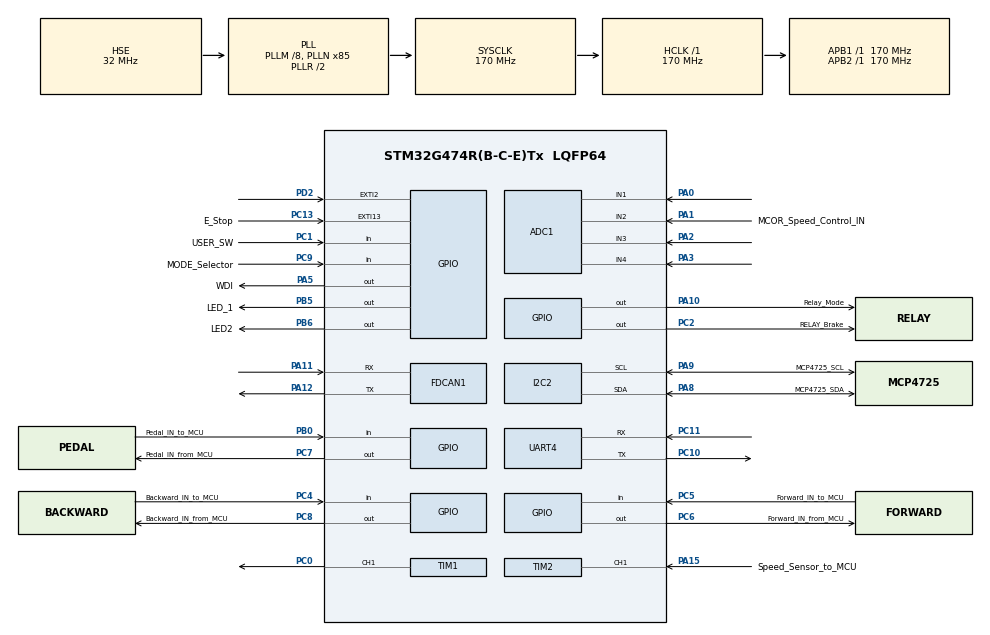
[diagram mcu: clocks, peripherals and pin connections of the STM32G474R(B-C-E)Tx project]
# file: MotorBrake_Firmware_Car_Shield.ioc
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ADC1.Channel-0\#ChannelRegularConversion=ADC_CHANNEL_1
ADC1.Channel-1\#ChannelRegularConversion=ADC_CHANNEL_2
ADC1.Channel-2\#ChannelRegularConversion=ADC_CHANNEL_3
ADC1.Channel-3\#ChannelRegularConversion=ADC_CHANNEL_4
ADC1.ContinuousConvMode=ENABLE
ADC1.DMAContinuousRequests=ENABLE
ADC1.NbrOfConversion=4
ADC1.NbrOfConversionFlag=1
ADC1.OffsetNumber-0\#ChannelRegularConversion=ADC_OFFSET_NONE
ADC1.OffsetNumber-1\#ChannelRegularConversion=ADC_OFFSET_NONE
ADC1.OffsetNumber-2\#ChannelRegularConversion=ADC_OFFSET_NONE
ADC1.OffsetNumber-3\#ChannelRegularConversion=ADC_OFFSET_NONE
ADC1.Rank-0\#ChannelRegularConversion=1
ADC1.Rank-1\#ChannelRegularConversion=2
ADC1.Rank-2\#ChannelRegularConversion=3
ADC1.Rank-3\#ChannelRegularConversion=4
ADC1.SamplingTime-0\#ChannelRegularConversion=ADC_SAMPLETIME_640CYCLES_5
ADC1.SamplingTime-1\#ChannelRegularConversion=ADC_SAMPLETIME_640CYCLES_5
ADC1.SamplingTime-2\#ChannelRegularConversion=ADC_SAMPLETIME_640CYCLES_5
ADC1.SamplingTime-3\#ChannelRegularConversion=ADC_SAMPLETIME_640CYCLES_5
ADC1.master=1
Dma.ADC1.0.Direction=DMA_PERIPH_TO_MEMORY
Dma.ADC1.0.EventEnable=DISABLE
Dma.ADC1.0.Instance=DMA1_Channel1
Dma.ADC1.0.MemDataAlignment=DMA_MDATAALIGN_HALFWORD
Dma.ADC1.0.MemInc=DMA_MINC_ENABLE
Dma.ADC1.0.Mode=DMA_CIRCULAR
Dma.ADC1.0.PeriphDataAlignment=DMA_PDATAALIGN_HALFWORD
Dma.ADC1.0.PeriphInc=DMA_PINC_DISABLE
Dma.ADC1.0.Polarity=HAL_DMAMUX_REQ_GEN_RISING
Dma.ADC1.0.Priority=DMA_PRIORITY_LOW
Dma.ADC1.0.RequestNumber=1
Dma.ADC1.0.SignalID=NONE
Dma.ADC1.0.SyncEnable=DISABLE
Dma.ADC1.0.SyncPolarity=HAL_DMAMUX_SYNC_NO_EVENT
Dma.ADC1.0.SyncRequestNumber=1
Dma.ADC1.0.SyncSignalID=NONE
Dma.Request0=ADC1
FDCAN1.CalculateBaudRateNominal=249999
FDCAN1.CalculateTimeBitNominal=4000
FDCAN1.CalculateTimeQuantumNominal=235.29411764705884
FDCAN1.NominalPrescaler=40
FDCAN1.NominalSyncJumpWidth=3
FDCAN1.NominalTimeSeg1=13
FDCAN1.NominalTimeSeg2=3
I2C2.Timing=0x40B285C2
Mcu.Family=STM32G4
Mcu.Name=STM32G474R(B-C-E)Tx
Mcu.Package=LQFP64
NVIC.DMA1_Channel1_IRQn=true\:0\:0\:false\:false\:true\:false\:true\:true
NVIC.EXTI2_IRQn=true\:0\:0\:false\:false\:true\:true\:true\:true
NVIC.PriorityGroup=NVIC_PRIORITYGROUP_4
NVIC.TIM6_DAC_IRQn=true\:0\:0\:false\:false\:true\:true\:true\:true
PA0.Mode=IN1-Single-Ended
PA0.Signal=ADC1_IN1
PA1.GPIO_Label=MCOR_Speed_Control_IN
PA1.Mode=IN2-Single-Ended
PA1.Signal=ADC1_IN2
PA10.GPIO_Label=Relay_Mode
PA10.Signal=GPIO_Output
PA11.Mode=FDCAN_Activate
PA11.Signal=FDCAN1_RX
PA12.Mode=FDCAN_Activate
PA12.Signal=FDCAN1_TX
PA13.Mode=Serial_Wire
PA13.Signal=SYS_JTMS-SWDIO
PA14.Mode=Serial_Wire
PA14.Signal=SYS_JTCK-SWCLK
PA15.GPIO_Label=Speed_Sensor_to_MCU
PA15.Signal=S_TIM2_CH1
PA2.Mode=IN3-Single-Ended
PA2.Signal=ADC1_IN3
PA3.Mode=IN4-Single-Ended
PA3.Signal=ADC1_IN4
PA5.GPIO_Label=WDI
PA5.Signal=GPIO_Output
PA8.GPIO_Label=MCP4725_SDA
PA8.Mode=I2C
PA8.Signal=I2C2_SDA
PA9.GPIO_Label=MCP4725_SCL
PA9.Mode=I2C
PA9.Signal=I2C2_SCL
PB0.GPIO_Label=Pedal_IN_to_MCU
PB0.Signal=GPIO_Input
PB5.GPIO_Label=LED_1
PB5.Signal=GPIO_Output
PB6.GPIO_Label=LED2
PB6.Signal=GPIO_Output
PC0.Signal=S_TIM1_CH1
PC1.GPIO_Label=USER_SW
PC1.GPIO_PuPd=GPIO_PULLDOWN
PC1.Signal=GPIO_Input
PC10.Mode=Asynchronous
PC10.Signal=UART4_TX
PC11.Mode=Asynchronous
PC11.Signal=UART4_RX
PC13.GPIO_Label=E_Stop
PC13.GPIO_PuPd=GPIO_PULLUP
PC13.Signal=GPXTI13
PC2.GPIO_Label=RELAY_Brake
PC2.Signal=GPIO_Output
PC4.GPIO_Label=Backward_IN_to_MCU
PC4.Signal=GPIO_Input
PC5.GPIO_Label=Forward_IN_to_MCU
PC5.Signal=GPIO_Input
PC6.GPIO_Label=Forward_IN_from_MCU
PC6.Signal=GPIO_Output
PC7.GPIO_Label=Pedal_IN_from_MCU
PC7.Signal=GPIO_Output
PC8.GPIO_Label=Backward_IN_from_MCU
PC8.Signal=GPIO_Output
PC9.GPIO_Label=MODE_Selector
PC9.Signal=GPIO_Input
PD2.GPIO_ModeDefaultEXTI=GPIO_MODE_IT_FALLING
PD2.Signal=GPXTI2
PF0-OSC_IN.Mode=HSE-External-Oscillator
PF0-OSC_IN.Signal=RCC_OSC_IN
PF1-OSC_OUT.Mode=HSE-External-Oscillator
PF1-OSC_OUT.Signal=RCC_OSC_OUT
ProjectManager.HeapSize=0x200
ProjectManager.StackSize=0x400
ProjectManager.TargetToolchain=STM32CubeIDE
RCC.ADC12Freq_Value=170000000
RCC.ADC345Freq_Value=170000000
RCC.AHBFreq_Value=170000000
RCC.APB1Freq_Value=170000000
RCC.APB1TimFreq_Value=170000000
RCC.APB2Freq_Value=170000000
RCC.APB2TimFreq_Value=170000000
RCC.CortexFreq_Value=170000000
RCC.EXTERNAL_CLOCK_VALUE=12288000
RCC.HCLKFreq_Value=170000000
RCC.HSE_VALUE=32000000
RCC.HSI48_VALUE=48000000
RCC.HSI_VALUE=16000000
RCC.LSE_VALUE=32768
RCC.PLLM=RCC_PLLM_DIV8
RCC.PLLN=85
RCC.PLLSourceVirtual=RCC_PLLSOURCE_HSE
RCC.SYSCLKFreq_VALUE=170000000
RCC.SYSCLKSource=RCC_SYSCLKSOURCE_PLLCLK
RCC.USBFreq_Value=170000000
RCC.VCOOutputFreq_Value=340000000
SH.S_TIM1_CH1.0=TIM1_CH1,PWM Generation1 CH1
SH.S_TIM2_CH1.0=TIM2_CH1,Input_Capture1_from_TI1
TIM1.Channel-PWM\ Generation1\ CH1=TIM_CHANNEL_1
TIM1.PeriodNoDither=20000-1
TIM1.Prescaler=170-1
TIM2.Channel-Input_Capture1_from_TI1=TIM_CHANNEL_1
TIM6.PeriodNoDither=10000-1
TIM6.Prescaler=170-1
VP_SYS_VS_DBSignals.Mode=DisableDeadBatterySignals
VP_TIM1_VS_ClockSourceINT.Mode=Internal
VP_TIM6_VS_ClockSourceINT.Mode=Enable_Timer
board=custom

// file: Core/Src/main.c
/* USER CODE BEGIN Header */
/**
 ******************************************************************************
 * @file           : main.c
 * @brief          : Main program body
 ******************************************************************************
 * @attention
 *
 * Copyright (c) 2026 STMicroelectronics.
 * All rights reserved.
 *
 * This software is licensed under terms that can be found in the LICENSE file
 * in the root directory of this software component.
 * If no LICENSE file comes with this software, it is provided AS-IS.
 *
 ******************************************************************************
 */
/* USER CODE END Header */
#include "main.h"
#include "adc.h"
#include "dma.h"
#include "fdcan.h"
#include "i2c.h"
#include "tim.h"
#include "usart.h"
#include "gpio.h"

/* USER CODE BEGIN Includes */
#include <string.h>   // memcpy() for packing the float current into the CAN frame
#include "flash_store.h"   // persist start/stop servo angles in flash (split-out lib)
#include "curtis_io.h"     // read/drive Curtis 1510 direction/pedal/MCOR/speed-sensor
#include "tim.h"           // htim2 + MX_TIM2_Init() for the speed-sensor input capture
#include "i2c.h"           // hi2c2 + MX_I2C2_Init() for the MCP4725 MCOR-out DAC
/* USER CODE END Includes */

/* USER CODE BEGIN PD */
/* ---- CAN protocol (raw classic-CAN frames bridged to ROS 2 on the PC) ----
 * /brake_command (std_msgs/Bool)  : PC -> STM32, ID 0x130, data[0] = 1 ON / 0 OFF
 * /brake_status  (BrakeStatus.msg): STM32 -> PC, ID 0x131, 8-byte heartbeat:
 *     [0..3] float32 current_ma (little-endian)
 *     [4]    uint8  relay_active   (1 = Relay G2R-24 ON, 0 = OFF)
 *     [5]    uint8  status bits: bit0 = watchdog_status (0 = Normal, 1 =
 *            Triggered/fault), bit1 = PC13 E_Stop live status (1 = active)
 *     [6..7] uint16 heartbeat sequence counter (little-endian)
 * /servo_command : PC -> STM32, ID 0x132, 8-byte. Two independent servo angles,
 *            each a little-endian float32 clamped to 0–180°. Stored in flash and
 *            recalled on boot:
 *     [0..3] float32 start_deg : servo position when the brake is OFF/released
 *            (relay open, motor free to start).
 *     [4..7] float32 stop_deg  : servo position when the brake is ON/engaged
 *            (relay closed, motor stopped).
 *            There is no polarity/sign flag any more — start and stop are set
 *            directly and independently.
 * /servo_status  : STM32 -> PC, ID 0x133, 8-byte, sent on the same 20 ms tick as
 *            0x131. The held start/stop angles (flash-recalled at boot, then the
 *            live values after each overwrite), same layout as /servo_command:
 *     [0..3] float32 start_deg (little-endian)
 *     [4..7] float32 stop_deg  (little-endian)
 * /brake_angle   : STM32 -> PC, ID 0x134, 1-byte. Current servo/brake angle the
 *            sequencer is driving to, in whole degrees (0..180). Diagram assigns
 *            this to 0x132, but 0x132/0x133 are already used above for the servo
 *            start/stop config, so /brake_angle lives on the free ID 0x134:
 *     [0] uint8 angle_deg (0..180).
 * ---- Closed-loop speed control (Curtis 1510), scaled int16 in m/s ----------
 * The speed value on the wire is a signed little-endian int16 in units of
 * 0.01 m/s (SPEED_CMD_SCALE): raw = round(m/s * 100), range ±327.67 m/s. The
 * sign carries direction (>0 forward, <0 backward, 0 = stop).
 * /cmd_vel (geometry_msgs/Twist.linear.x) : PC -> STM32, ID 0x120, 2-byte:
 *     [0..1] int16 linear_x : target wheel speed, 0.01 m/s/LSB (little-endian).
 * /speed_enable (std_msgs/Bool)           : PC -> STM32, ID 0x121, data[0] =
 *            1 -> run the PID speed loop (mode relay ON), 0 -> release outputs.
 * /speed_status  : STM32 -> PC, ID 0x122, 8-byte, sent on the same 20 ms tick as
 *            0x131. Measured + target speed and controller flags:
 *     [0..1] int16 measured_speed : current wheel speed, 0.01 m/s/LSB (LE); sign
 *            follows the commanded direction (the pulse sensor is unsigned).
 *     [2..3] int16 target_speed   : commanded speed, 0.01 m/s/LSB (LE).
 *     [4]    uint8 status_flags    : see SPEED_FLAG_* (bit0 enabled, bit1 fwd_cmd,
 *            bit2 rev_cmd, bit3 pedal, bit4 sensor_valid, bit5 timeout, bit6
 *            PC13 E_Stop, bit7 fault)
 *     [5]    uint8 fault_code      : 0 = none (reserved for future fault codes).
 *     [6..7] uint16 sequence counter (little-endian).
 * /speed_diagnostics : STM32 -> PC, ID 0x123, 8-byte, same 20 ms tick. Raw
 *            Curtis I/O snapshot for debugging:
 *     [0]    uint8 input_flags  : bit0 FWD in, bit1 REV in, bit2 Pedal in.
 *     [1]    uint8 output_flags : bit0 FWD out, bit1 REV out, bit2 Pedal out,
 *            bit3 mode_relay.
 *     [2..3] uint16 MCOR input  mV (little-endian) — throttle wiper read.
 *     [4..5] uint16 MCOR output mV (little-endian) — last DAC value driven.
 *     [6..7] uint16 speed_sensor_hz (little-endian) — pulse frequency. */
#define CAN_ID_CMD_VEL        0x120u   /* RX: target speed (int16, 0.01 m/s/LSB) */
#define CAN_ID_SPEED_ENABLE   0x121u   /* RX: enable PID speed control (bool)    */
#define CAN_ID_SPEED_STATUS   0x122u   /* TX: /speed_status, 8 bytes (see below)  */
#define CAN_ID_SPEED_DIAG     0x123u   /* TX: /speed_diagnostics, 8 bytes         */
#define CAN_ID_BRAKE_CMD      0x130u
#define CAN_ID_BRAKE_STATUS   0x131u
#define CAN_ID_SERVO_CMD      0x132u
#define CAN_ID_SERVO_STATUS   0x133u
#define CAN_ID_BRAKE_ANGLE    0x134u   /* TX: /brake_angle, 1 byte servo angle    */

/* Speed value wire scaling: signed int16, 0.01 m/s per LSB (round-trip m/s). */
#define SPEED_CMD_SCALE       100.0f

/* /speed_status status_flags (byte 4) bit positions (see 0x122 layout below). */
#define SPEED_FLAG_ENABLED    0x01u   /* bit0: speed controller enabled          */
#define SPEED_FLAG_FWD_CMD    0x02u   /* bit1: forward output commanded          */
#define SPEED_FLAG_REV_CMD    0x04u   /* bit2: reverse output commanded          */
#define SPEED_FLAG_PEDAL      0x08u   /* bit3: pedal output active               */
#define SPEED_FLAG_SENSOR_OK  0x10u   /* bit4: speed sensor reading valid        */
#define SPEED_FLAG_TIMEOUT    0x20u   /* bit5: /speed_cmd timeout active         */
#define SPEED_FLAG_ESTOP      0x40u   /* bit6: PC13 E-Stop active                */
#define SPEED_FLAG_FAULT      0x80u   /* bit7: speed fault active                */

/* /speed_cmd (0x120) watchdog: if no target frame arrives within this window the
 * SPEED_FLAG_TIMEOUT bit is set so the Jetson bridge can react (the diagram's
 * "cmd_vel timeout -> brake" rule). */
#define SPEED_CMD_TIMEOUT_MS  500u

/* Auto-brake on stop: when the commanded speed (/cmd_vel, 0x120) is 0 but the
 * wheel is still turning, engage the brake until the vehicle actually stops.
 * The brake auto-releases once the measured speed magnitude drops to/below this
 * threshold, so it is not held forever when already stationary. Tunable at run
 * time via the auto_brake_speed_thresh_mps Live Expression. */
#define AUTO_BRAKE_SPEED_THRESH_DEFAULT  0.05f  /* m/s, ~5 cm/s */

/* ---- INA240A2D current sensor (gain 50 V/V) with a 2 mOhm shunt ----------
 * Unidirectional wiring (REF tied to GND) so 0 A -> ~0 V and only the
 * positive direction is measured.
 *   Vout      = I * Rshunt * Gain  ->  0.002 * 50 = 0.1 V/A
 *   I [A]     = (Vadc - offset) / 0.1
 * Change CURRENT_ADC_INDEX if the INA240 output is wired to a different
 * ADC1 rank (adc_buffer[0]=PA0/IN1, [1]=PA1, [2]=PA2, [3]=PA3).            */
#define ADC_VREF              3.3f
#define ADC_FULL_SCALE        4095.0f
#define INA240_GAIN           50.0f
#define SHUNT_OHMS            0.002f
#define CURRENT_V_PER_A       (INA240_GAIN * SHUNT_OHMS)   /* 0.1 V/A */
#define CURRENT_OFFSET_V      0.0f                         /* unidirectional */
#define CURRENT_ADC_INDEX     0u

/* Curtis 1510 MCOR throttle wiper: wired to PA1 = ADC1_IN2 = regular rank 2, so
 * it lands in adc_buffer[1] (see the ADC1 rank order above). */
#define MCOR_ADC_INDEX        1u

/* Open-load / motor-fault check: Relay commanded ON but ~no current flowing.
 * Temporarily disabled (set to 1 to re-enable once a real load is connected). */
#define ENABLE_OPENLOAD_CHECK        0
#define CURRENT_FAULT_THRESHOLD_MA   50.0f

/* Overcurrent trip: cut the relay if the current stays >= threshold continuously
 * for OVERCURRENT_TRIP_MS. The delay rejects the brief inrush/noise spike the
 * servo motor produces when it starts moving (engage or release), while still
 * catching a real sustained fault (stall / short). */
#define OVERCURRENT_THRESHOLD_A      14.0f
#define OVERCURRENT_TRIP_MS          150u

/* Moving-average window over the raw ADC current samples. Smooths single-sample
 * spikes (relay switching noise) that were tripping the overcurrent latch. */
#define CURRENT_AVG_WINDOW           16u

/* Heartbeat: TIM6 elapses every 10 ms. The status frames alternate between a
 * brake group and a speed group on each flag (see the main-loop TX block), so a
 * flag every 10 ms (1 tick) gives each group a 20 ms transmit rate. */
#define HEARTBEAT_TICKS       1u

/* On a normal release (relay commanded OFF) the servo is driven back to the
 * start position and we keep the relay energised for this long so it can
 * physically get there before power is cut. Faults (E-Stop/overcurrent) skip
 * this and cut at once. */
#define SERVO_SETTLE_MS       3000u

/* Persisted start/stop servo angles: the flash layout, magic and load/save logic
 * live in the flash_store.[ch] library. What stays here is the app-level policy
 * for *when* to commit.
 * NOTE: the G474 has no read-while-write, so a page erase (~22 ms) stalls the
 * whole CPU — interrupts included — for its duration. To avoid stalling during a
 * burst of /servo_command frames (which would make CAN look unresponsive), the
 * write is debounced: we only commit once the angles have been stable for
 * FLASH_WRITE_QUIET_MS. The boot defaults (used until a /servo_command is saved)
 * are app-level tuning knobs and are passed into FlashStore_LoadAngles(). */
#define START_ANGLE_DEFAULT   180.0f  /* brake OFF/released */
#define STOP_ANGLE_DEFAULT    110.0f  /* brake ON/engaged  */
#define FLASH_WRITE_QUIET_MS  800u

/* On a verified flash write, blink LED2 rapidly for a moment as a visual ACK.
 * Driven from the 10 ms TIM6 tick: toggle every LED2_BLINK_PERIOD ticks for
 * LED2_BLINK_TICKS ticks total (100 ticks = ~1 s, toggling every 50 ms ≈ 10 Hz). */
#define LED2_BLINK_TICKS      100u
#define LED2_BLINK_PERIOD     5u

/* Local push-button on PC1 (USER_SW) that toggles the relay. Wired active-high:
 * press connects the pin to 3.3V, internal pull-down holds it low when released. */
#define BTN_TOGGLE_Pin        GPIO_PIN_1
#define BTN_TOGGLE_GPIO_Port  GPIOC

/* E-Stop on PD2: active-low with pull-up (idle HIGH, triggered LOW -> falling). */
#define ESTOP_Pin             GPIO_PIN_2
#define ESTOP_GPIO_Port       GPIOD

/* Second E-Stop on PC13 (labelled E_Stop in the .ioc; pin defines E_Stop_Pin /
 * E_Stop_GPIO_Port come from main.h). This one is polled and, while active,
 * acted on locally (non-latching): the firmware forces the brake fully engaged
 * to STOP_ANGLE_DEFAULT, holds the relay closed, and zeroes the speed target.
 * When PC13 releases, the normal relay_cmd / speed command flow resumes. It is
 * also still reported in the status frames (0x131 bit / 0x122 flag).
 * Wiring: PC13 is treated as active-HIGH — a pressed/active E-Stop drives the
 * line HIGH. Flip ESTOP_PC13_ACTIVE_LOW back to 1 if the button is wired
 * active-low (idle HIGH via pull-up, pressed pulls LOW). */
#define ESTOP_PC13_ACTIVE_LOW 0
/* USER CODE END PD */

/* USER CODE BEGIN PV */
volatile uint8_t relay_cmd = 0;       // 0 = OFF, 1 = ON. Set by /brake_command over CAN (or Live Expression)
volatile float   start_angle_deg = START_ANGLE_DEFAULT; // servo angle when brake OFF/released (0–180°), persisted in flash, set by /servo_command
volatile float   stop_angle_deg  = STOP_ANGLE_DEFAULT;  // servo angle when brake ON/engaged  (0–180°), persisted in flash, set by /servo_command
volatile uint8_t  flash_save_req = 0;  // set by RX ISR when start/stop angle changes; flash write runs in main loop
volatile uint32_t flash_req_tick = 0;  // HAL tick of the last start/stop angle change (debounce reference)
volatile uint8_t flash_write_ok = 0;  // 1 = last flash write read back OK (visible in Live Expression)
volatile uint16_t led2_blink_ticks = 0; // >0 = LED2 rapid-blink countdown (10 ms ticks), set on a verified write
volatile uint16_t adc_buffer[4];     // สร้าง Buffer รอรับค่าจาก ADC DMA
uint16_t led_counter = 0;

/* Relay/servo release sequencer state (driven in the main loop). */
typedef enum {
	BRAKE_OFF = 0,    // relay open, servo parked at start_angle_deg
	BRAKE_ON,         // relay closed, servo driven to stop_angle_deg
	BRAKE_RELEASING   // servo driving back to start_angle_deg, relay still on until settle elapses
} brake_state_t;

/* --- Brake status / safety state shared with the ISRs --- */
volatile uint8_t  watchdog_status = 0;   // 0 = Normal, 1 = Triggered (E-Stop or open-load fault). Latched.
volatile uint8_t  estop_pc13     = 0;    // live PC13 E_Stop status (1 = active), reported in 0x131/0x122
volatile uint8_t  can_tx_flag = 0;       // set by TIM6 every HEARTBEAT_TICKS, consumed in main loop
float             current_ma = 0.0f;     // latest INA240 current reading, milliamps
uint16_t          heartbeat_seq = 0;     // rolling counter so the PC can detect dropped frames

FDCAN_TxHeaderTypeDef CanTxHeader;        // configured once in CAN_App_Init() — used for 0x131
FDCAN_TxHeaderTypeDef CanServoTxHeader;   // configured once in CAN_App_Init() — used for 0x133
FDCAN_TxHeaderTypeDef CanSpeedTxHeader;   // configured once in CAN_App_Init() — used for 0x122
FDCAN_TxHeaderTypeDef CanSpeedDiagTxHeader; // configured once in CAN_App_Init() — used for 0x123
FDCAN_TxHeaderTypeDef CanBrakeAngleTxHeader; // configured once in CAN_App_Init() — used for 0x134

/* --- Speed-status telemetry shared with the ISRs / status senders --- */
uint16_t          speed_seq       = 0;   // /speed_status sequence counter (0x122 [6..7])
uint8_t           speed_fault_code = 0;  // 0 = none; reserved for future speed faults
volatile uint32_t last_cmd_vel_tick = 0; // HAL tick of the last /speed_cmd RX (0 = none yet)
volatile uint8_t  cmd_vel_seen    = 0;   // 1 once the first /speed_cmd has arrived
volatile uint8_t  brake_servo_deg = STOP_ANGLE_DEFAULT; // current servo target, whole deg (0x134)

/* --- Curtis 1510 input readings, refreshed each main-loop pass (Live Expression) --- */
volatile uint8_t curtis_forward  = 0;   // Forward_IN_to_MCU  (PC5) raw level
volatile uint8_t curtis_backward = 0;   // Backward_IN_to_MCU (PC4) raw level
volatile uint8_t curtis_pedal    = 0;   // Pedal_IN_to_MCU    (PB0) raw level
volatile float   mcor_volts      = 0.0f;// MCOR throttle wiper (PA1/IN2), volts
volatile float   speed_sensor_hz = 0.0f;// Speed_Sensor_to_MCU (PA15/TIM2 CH1), pulse Hz

/* --- Output self-test (bench). Flip to 1 in a Live Expression to energise the
 * mode relay and start cycling the Forward/Backward/Pedal out lines + sweeping
 * the MCOR DAC; back to 0 releases every output and hands the Curtis back to
 * the input/pass-through side. Watch the CurtisIO_OutTest_* variables move. --- */
volatile uint8_t output_test_enable = 0;
#define OUTPUT_TEST_PERIOD_MS   100u   // ms between test steps (pattern advance)

/* --- Manual output override (bench). Set CurtisIO_Override_forward/backward/
 * pedal (0/1) and CurtisIO_Override_mcor_volts (0..VREF) in a Live Expression,
 * then flip this to 1 to drive the Curtis outputs to exactly those values. Takes
 * precedence over the auto self-test above (only one drives the outputs). Back to
 * 0 releases every output and hands the Curtis back to the input side. --- */
volatile uint8_t output_override_enable = 0;

/* --- Closed-loop speed control (bench/ROS). Set curtis_speed_target_mps to the
 * desired wheel speed in m/s (sign = direction, 0 = stop), then flip
 * speed_control_enable to 1: the PID loop energises the mode relay and drives
 * the Curtis Forward/Backward/Pedal lines + MCOR throttle to hold that speed.
 * Takes precedence over the manual override and auto self-test (only one drives
 * the shared outputs). Back to 0 releases every output (mode relay OFF). Tune
 * with CurtisIO_Speed_Kp/Ki/Kd; watch CurtisIO_Speed_* for telemetry. --- */
volatile uint8_t speed_control_enable    = 0;
volatile float   curtis_speed_target_mps = 0.0f;   // desired wheel speed, m/s (signed)
volatile float   speed_sensor_mps        = 0.0f;   // measured speed magnitude, m/s (Live Expression)

/* Auto-brake on stop: engage the brake when the commanded speed is 0 while the
 * wheel is still moving faster than this threshold; release once it drops back
 * to/below it. Adjustable live (m/s). See AUTO_BRAKE_SPEED_THRESH_DEFAULT. */
volatile float   auto_brake_speed_thresh_mps = AUTO_BRAKE_SPEED_THRESH_DEFAULT;
/* USER CODE END PV */

void SystemClock_Config(void);
/* USER CODE BEGIN PFP */
static void  CAN_App_Init(void);          // FDCAN filter + start + RX notification
static void  BrakeStatus_Send(void);      // pack and transmit the /brake_status heartbeat frame
static void  ServoStatus_Send(void);      // transmit the held start/stop angles (0x133)
static void  BrakeAngle_Send(void);       // transmit the current servo/brake angle (0x134)
static void  SpeedStatus_Send(void);      // transmit /speed_status (0x122, 8-byte)
static void  SpeedDiag_Send(void);        // transmit /speed_diagnostics (0x123, 8-byte)
/* Persisted start/stop servo angles now live in flash_store.[ch]:
 *   FlashStore_LoadAngles() / FlashStore_SaveAngles() */
/* USER CODE END PFP */

/* USER CODE BEGIN 0 */
static uint32_t deg_to_pulse(float deg) {
    if (deg < 0.0f)   deg = 0.0f;
    if (deg > 180.0f) deg = 180.0f;
    return (uint32_t)(1000.0f + deg * (1000.0f / 180.0f));
}

/* Wire encoding for the speed frames: m/s -> signed int16 in 0.01 m/s units,
 * rounded and clamped to the int16 range so a huge value cannot wrap. */
static int16_t mps_to_raw(float mps) {
    float scaled = mps * SPEED_CMD_SCALE;
    scaled += (scaled >= 0.0f) ? 0.5f : -0.5f;   /* round to nearest */
    if (scaled >  32767.0f) scaled =  32767.0f;
    if (scaled < -32768.0f) scaled = -32768.0f;
    return (int16_t) scaled;
}

/* Inverse of mps_to_raw: signed int16 (0.01 m/s/LSB) -> m/s. */
static float raw_to_mps(int16_t raw) {
    return (float) raw / SPEED_CMD_SCALE;
}
/* USER CODE END 0 */

int main(void)
{

  /* MCU Configuration--------------------------------------------------------*/

  /* Reset of all peripherals, Initializes the Flash interface and the Systick. */
  HAL_Init();

  /* Configure the system clock */
  SystemClock_Config();

  /* Initialize all configured peripherals */
  MX_GPIO_Init();
  MX_DMA_Init();
  MX_ADC1_Init();
  MX_FDCAN1_Init();
  MX_TIM1_Init();
  MX_TIM6_Init();
  MX_I2C2_Init();
  MX_UART4_Init();
  MX_TIM2_Init();
  /* USER CODE BEGIN 2 */
	/* E-Stop (PD2): CubeMX generates this EXTI pin as GPIO_NOPULL, which leaves
	 * the active-low line floating and fires spurious falling edges -> false
	 * watchdog_status=1. Re-init with internal pull-up (USER CODE = regen-safe)
	 * and drop any edge latched during boot/re-config before we start. */
	GPIO_InitTypeDef estop_init = {0};
	__HAL_RCC_GPIOD_CLK_ENABLE();
	estop_init.Pin = ESTOP_Pin;
	estop_init.Mode = GPIO_MODE_IT_FALLING;
	estop_init.Pull = GPIO_PULLUP;
	estop_init.Speed = GPIO_SPEED_FREQ_LOW;
	HAL_GPIO_Init(ESTOP_GPIO_Port, &estop_init);
	__HAL_GPIO_EXTI_CLEAR_IT(ESTOP_Pin);
	HAL_NVIC_ClearPendingIRQ(EXTI2_IRQn);
	watchdog_status = 0;            // clear false latch from a floating boot edge

	/* Recall the start/stop angles saved by the last /servo_command (defaults if
	 * the flash page was never written). */
	float loaded_start, loaded_stop;
	FlashStore_LoadAngles(&loaded_start, &loaded_stop,
			START_ANGLE_DEFAULT, STOP_ANGLE_DEFAULT);
	start_angle_deg = loaded_start;
	stop_angle_deg  = loaded_stop;

	CAN_App_Init();                 // ตั้งค่า Filter + Start FDCAN + เปิด RX Interrupt
	HAL_TIM_Base_Start_IT(&htim6);  // เริ่ม Timer ของ WDI
	HAL_TIM_PWM_Start(&htim1, TIM_CHANNEL_1); // เริ่ม PWM ของ Servo
	HAL_ADC_Start_DMA(&hadc1, (uint32_t*) adc_buffer, 4);

	/* Speed sensor (PA15 -> TIM2 CH1): start input capture with interrupt. CubeMX
	 * generated TIM2 without its NVIC line enabled, so enable it here (USER CODE =
	 * regen-safe). The TIM2_IRQHandler lives in stm32g4xx_it.c (also USER CODE). */
	HAL_NVIC_SetPriority(TIM2_IRQn, 5, 0);
	HAL_NVIC_EnableIRQ(TIM2_IRQn);
	HAL_TIM_IC_Start_IT(&htim2, TIM_CHANNEL_1);
  /* USER CODE END 2 */

  /* Infinite loop */
	while (1) {

    /* USER CODE BEGIN 3 */
		/* Poll the PC13 E_Stop line first so the brake sequencer and speed loop
		 * below act on the current level (no one-cycle lag). Active-HIGH by
		 * default (ESTOP_PC13_ACTIVE_LOW). While active the firmware forces the
		 * brake engaged (see the sequencer) and commands speed 0; it clears the
		 * moment the line releases. Also reported in 0x131/0x122. */
		GPIO_PinState estop_lvl = HAL_GPIO_ReadPin(E_Stop_GPIO_Port, E_Stop_Pin);
#if ESTOP_PC13_ACTIVE_LOW
		estop_pc13 = (estop_lvl == GPIO_PIN_RESET) ? 1u : 0u;
#else
		estop_pc13 = (estop_lvl == GPIO_PIN_SET) ? 1u : 0u;
#endif
		if (estop_pc13) {
			curtis_speed_target_mps = 0.0f;   /* command speed 0 while E-Stop active */
		}

		/* Relay/servo sequencer:
		 *   OFF  -> ON         : commanded ON (no fault) -> relay closes, servo to brake_angle
		 *   ON                 : servo follows brake_angle live (re-sent /servo_command)
		 *   ON   -> RELEASING  : commanded OFF -> servo to 0°, relay stays on
		 *   RELEASING -> OFF   : after SERVO_SETTLE_MS the relay opens
		 * A fault (watchdog_status=1) cuts the relay immediately from any state. */
		static brake_state_t brake_state = BRAKE_OFF;
		static float    servo_target  = START_ANGLE_DEFAULT;
		static uint32_t release_tick  = 0;

		/* Engage/release endpoints, set independently via /servo_command:
		 *   brake ON  (engaged) -> stop_deg
		 *   brake OFF (released)-> start_deg */
		float engaged_deg  = stop_angle_deg;
		float released_deg = start_angle_deg;

		/* Auto-brake on stop: if a /cmd_vel has been seen, the commanded speed is
		 * 0, and the wheel is still turning above auto_brake_speed_thresh_mps,
		 * request the brake so the car is held until it actually stops. It clears
		 * automatically once the measured speed drops to/below the threshold, so
		 * the brake is not engaged forever while already stationary. cmd_vel_seen
		 * gates it off on boot (default target 0). speed_sensor_mps is the |speed|
		 * magnitude refreshed once per loop (last iteration's value here).
		 * The auto request is OR-ed with the manual relay_cmd (/brake_command). */
		uint8_t auto_brake =
				(cmd_vel_seen
				 && curtis_speed_target_mps > -0.005f
				 && curtis_speed_target_mps <  0.005f
				 && speed_sensor_mps > auto_brake_speed_thresh_mps) ? 1u : 0u;
		uint8_t brake_req = (relay_cmd || auto_brake) ? 1u : 0u;

		if (watchdog_status == 1) {
			/* E-Stop / latched fault: open relay now, no graceful return. */
			HAL_GPIO_WritePin(RELAY_Brake_GPIO_Port, RELAY_Brake_Pin, GPIO_PIN_RESET);
			servo_target = released_deg;
			brake_state  = BRAKE_OFF;
		} else if (estop_pc13) {
			/* PC13 E-Stop active (non-latching): force the brake fully engaged to
			 * STOP_ANGLE_DEFAULT and hold the relay closed. Speed is zeroed above.
			 * Enter BRAKE_ON so that when PC13 releases the sequencer returns to
			 * normal — staying engaged if a brake is still requested (manual
			 * relay_cmd or auto-brake), or releasing gracefully to start_angle_deg
			 * otherwise. */
			HAL_GPIO_WritePin(RELAY_Brake_GPIO_Port, RELAY_Brake_Pin, GPIO_PIN_SET);
			servo_target = STOP_ANGLE_DEFAULT;
			brake_state  = BRAKE_ON;
		} else {
			switch (brake_state) {
			case BRAKE_OFF:
				HAL_GPIO_WritePin(RELAY_Brake_GPIO_Port, RELAY_Brake_Pin, GPIO_PIN_RESET);
				servo_target = released_deg;
				if (brake_req == 1) {
					HAL_GPIO_WritePin(RELAY_Brake_GPIO_Port, RELAY_Brake_Pin, GPIO_PIN_SET);
					servo_target = engaged_deg;
					brake_state  = BRAKE_ON;
				}
				break;

			case BRAKE_ON:
				HAL_GPIO_WritePin(RELAY_Brake_GPIO_Port, RELAY_Brake_Pin, GPIO_PIN_SET);
				servo_target = engaged_deg;   /* follow live angle updates */
				if (brake_req == 0) {
					servo_target = released_deg; /* drive to release position before powering off */
					release_tick = HAL_GetTick();
					brake_state  = BRAKE_RELEASING;
				}
				break;

			case BRAKE_RELEASING:
				HAL_GPIO_WritePin(RELAY_Brake_GPIO_Port, RELAY_Brake_Pin, GPIO_PIN_SET);
				servo_target = released_deg;
				if (brake_req == 1) {              /* re-engaged mid-release */
					servo_target = engaged_deg;
					brake_state  = BRAKE_ON;
				} else if ((HAL_GetTick() - release_tick) >= SERVO_SETTLE_MS) {
					HAL_GPIO_WritePin(RELAY_Brake_GPIO_Port, RELAY_Brake_Pin, GPIO_PIN_RESET);
					brake_state = BRAKE_OFF;
				}
				break;
			}
		}

		/* Moving average over the last CURRENT_AVG_WINDOW raw ADC samples to reject
		 * single-sample spikes before converting to current. Ring buffer keeps a
		 * running sum so each iteration is O(1). */
		static uint16_t adc_window[CURRENT_AVG_WINDOW] = {0};
		static uint32_t adc_sum = 0;
		static uint8_t  adc_idx = 0;
		uint16_t adc_raw = adc_buffer[CURRENT_ADC_INDEX];
		adc_sum -= adc_window[adc_idx];
		adc_window[adc_idx] = adc_raw;
		adc_sum += adc_raw;
		adc_idx = (uint8_t) ((adc_idx + 1u) % CURRENT_AVG_WINDOW);
		float adc_avg = (float) adc_sum / (float) CURRENT_AVG_WINDOW;

		/* Convert the averaged INA240 ADC reading into milliamps (unidirectional). */
		float vout = (adc_avg / ADC_FULL_SCALE) * ADC_VREF;
		float amps = (vout - CURRENT_OFFSET_V) / CURRENT_V_PER_A;
		if (amps < 0.0f) {
			amps = 0.0f;
		}
		current_ma = amps * 1000.0f;

		/* Overcurrent protection with a persistence filter: only trip when the
		 * current has been over the threshold continuously for OVERCURRENT_TRIP_MS,
		 * so the servo's brief start-up inrush/noise spike does not cut the relay. */
		static uint32_t oc_over_since = 0;   /* tick the current first crossed over; 0 = below */
		if (amps >= OVERCURRENT_THRESHOLD_A) {
			uint32_t now = HAL_GetTick();
			if (oc_over_since == 0) {
				oc_over_since = (now != 0u) ? now : 1u;  /* 0 is the "below" sentinel */
			}
			if ((now - oc_over_since) >= OVERCURRENT_TRIP_MS) {
				HAL_GPIO_WritePin(RELAY_Brake_GPIO_Port, RELAY_Brake_Pin, GPIO_PIN_RESET);
				relay_cmd    = 0;
				servo_target = released_deg;
				brake_state  = BRAKE_OFF;
			}
		} else {
			oc_over_since = 0;   /* dropped back below threshold -> restart the timer */
		}

		/* Drive the servo PWM to the sequencer's current target. */
		__HAL_TIM_SET_COMPARE(&htim1, TIM_CHANNEL_1, deg_to_pulse(servo_target));

		/* Publish the current servo angle on /brake_angle (0x134): whole degrees,
		 * clamped to 0..180 so it fits one byte. */
		float ang = servo_target;
		if (ang < 0.0f)   ang = 0.0f;
		if (ang > 180.0f) ang = 180.0f;
		brake_servo_deg = (uint8_t) (ang + 0.5f);

		/* Persist freshly received start/stop angles outside the RX ISR. Erasing
		 * bank 2 is RWW-safe, so this does not stall the heartbeat below. */
		/* Debounced flash persist: commit only after the angles have been stable for
		 * FLASH_WRITE_QUIET_MS, so a burst of /servo_command frames does not trigger
		 * back-to-back ~22 ms erase stalls (which would drop/delay CAN frames). */
		if (flash_save_req && (HAL_GetTick() - flash_req_tick) >= FLASH_WRITE_QUIET_MS) {
			flash_save_req = 0;
			flash_write_ok = FlashStore_SaveAngles(start_angle_deg, stop_angle_deg);
			if (flash_write_ok) {
				led2_blink_ticks = LED2_BLINK_TICKS;  // rapid-blink LED2 as a write ACK
			}
		}

		/* Refresh the Curtis 1510 input readings (Live Expression / future use):
		 *   - Forward/Backward/Pedal digital lines (raw pin levels)
		 *   - MCOR throttle wiper voltage (ADC1_IN2 via the DMA buffer)
		 *   - speed-sensor pulse frequency (TIM2 CH1 input capture) */
		/* (PC13 E_Stop is polled at the top of the loop and acted on there.) */
		CurtisDigitalInputs_t curtis_in;
		CurtisIO_ReadDigital(&curtis_in);
		curtis_forward  = curtis_in.forward;
		curtis_backward = curtis_in.backward;
		curtis_pedal    = curtis_in.pedal;
		mcor_volts      = CurtisIO_McorVolts(adc_buffer[MCOR_ADC_INDEX]);
		speed_sensor_hz = CurtisIO_SpeedHz();
		speed_sensor_mps = CurtisIO_SpeedMps();

		/* Curtis output drivers (Live Expression, bench). Three mutually exclusive
		 * modes share the mode relay + output lines, so only one may drive at a
		 * time. Precedence: speed control > manual override > auto self-test.
		 *   - speed_control_enable   : PID loop holds curtis_speed_target_mps (m/s)
		 *   - output_override_enable : drive outputs to the CurtisIO_Override_* values
		 *   - output_test_enable     : rotating auto self-test pattern / MCOR sweep
		 * Each is non-blocking and releases its outputs on the falling edge; gate
		 * the lower-priority ones off so a released mode does not fight the relay.
		 * A PC13 E-Stop also cuts the manual override and self-test drivers so they
		 * cannot keep driving the motor past the E-Stop (the override/self-test
		 * paths ignore the speed target, so zeroing it alone would not stop them).
		 * The PID path stays live but with the target forced to 0 above, so if it
		 * was enabled it actively holds speed 0. */
		uint8_t sc_on = speed_control_enable;
		uint8_t ov_on = output_override_enable && !sc_on && !estop_pc13;
		CurtisIO_SpeedControlRun(sc_on, curtis_speed_target_mps);
		CurtisIO_OutputOverrideRun(ov_on);
//		CurtisIO_OutputTestRun(output_test_enable && !ov_on && !sc_on && !estop_pc13, OUTPUT_TEST_PERIOD_MS);

		/* Status transmit, split across two 10 ms ticks so we never queue more
		 * than 3 frames at once — the STM32G4 FDCAN Tx FIFO is only 3 deep, and
		 * queuing all 5 frames back-to-back overflowed it and silently dropped
		 * the last two (0x122 /speed_status + 0x123 /speed_diagnostics).
		 *   tick A: brake group  (0x133 servo, 0x131 heartbeat, 0x134 angle) = 3
		 *   tick B: speed group  (0x122 status, 0x123 diagnostics)           = 2
		 * Each group therefore still transmits every 20 ms. 0x133 goes before
		 * 0x131 so the bridge has the current angle before it publishes
		 * /brake_status on receiving 0x131. */
		static uint8_t tx_group = 0;
		if (can_tx_flag) {
			can_tx_flag = 0;
			if (tx_group == 0) {
				ServoStatus_Send();   /* 0x133 */
				BrakeStatus_Send();   /* 0x131 */
				BrakeAngle_Send();    /* 0x134 */
			} else {
				SpeedStatus_Send();   /* 0x122 */
				SpeedDiag_Send();     /* 0x123 */
			}
			tx_group ^= 1u;
		}
	}
  /* USER CODE END 3 */
}

void SystemClock_Config(void)
{
  RCC_OscInitTypeDef RCC_OscInitStruct = {0};
  RCC_ClkInitTypeDef RCC_ClkInitStruct = {0};

  /** Configure the main internal regulator output voltage
  */
  HAL_PWREx_ControlVoltageScaling(PWR_REGULATOR_VOLTAGE_SCALE1_BOOST);

  /** Initializes the RCC Oscillators according to the specified parameters
  * in the RCC_OscInitTypeDef structure.
  */
  RCC_OscInitStruct.OscillatorType = RCC_OSCILLATORTYPE_HSE;
  RCC_OscInitStruct.HSEState = RCC_HSE_ON;
  RCC_OscInitStruct.PLL.PLLState = RCC_PLL_ON;
  RCC_OscInitStruct.PLL.PLLSource = RCC_PLLSOURCE_HSE;
  RCC_OscInitStruct.PLL.PLLM = RCC_PLLM_DIV8;
  RCC_OscInitStruct.PLL.PLLN = 85;
  RCC_OscInitStruct.PLL.PLLP = RCC_PLLP_DIV2;
  RCC_OscInitStruct.PLL.PLLQ = RCC_PLLQ_DIV2;
  RCC_OscInitStruct.PLL.PLLR = RCC_PLLR_DIV2;
  if (HAL_RCC_OscConfig(&RCC_OscInitStruct) != HAL_OK)
  {
    Error_Handler();
  }

  /** Initializes the CPU, AHB and APB buses clocks
  */
  RCC_ClkInitStruct.ClockType = RCC_CLOCKTYPE_HCLK|RCC_CLOCKTYPE_SYSCLK
                              |RCC_CLOCKTYPE_PCLK1|RCC_CLOCKTYPE_PCLK2;
  RCC_ClkInitStruct.SYSCLKSource = RCC_SYSCLKSOURCE_PLLCLK;
  RCC_ClkInitStruct.AHBCLKDivider = RCC_SYSCLK_DIV1;
  RCC_ClkInitStruct.APB1CLKDivider = RCC_HCLK_DIV1;
  RCC_ClkInitStruct.APB2CLKDivider = RCC_HCLK_DIV1;

  if (HAL_RCC_ClockConfig(&RCC_ClkInitStruct, FLASH_LATENCY_4) != HAL_OK)
  {
    Error_Handler();
  }
}

/* USER CODE BEGIN 4 */

/**
  * @brief Configure the FDCAN acceptance filter, start the peripheral and
  *        enable the RX FIFO0 "new message" interrupt. Also prepares the
  *        static TX header used for every /brake_status frame.
  */
static void CAN_App_Init(void)
{
	/* Bit timing / bitrate now come from the .ioc (NominalPrescaler = 40 ->
	 * 250 kbps @ 170 MHz, sample point 82.4 %), so MX_FDCAN1_Init() already set
	 * them. Two settings the .ioc does not carry are applied here before the RX
	 * filters are configured, then HAL_FDCAN_Init() is re-run to commit them:
	 *   - AutoRetransmission: ENABLE (CubeMX default is DISABLE)
	 *   - StdFiltersNbr:      4, so the acceptance filters below can allocate.
	 * Must still match the SocketCAN bitrate on the Jetson (bitrate 250000). */
	hfdcan1.Init.AutoRetransmission = ENABLE;
	/* slot 0: /brake_command, 1: /servo_command, 2: /cmd_vel, 3: /speed_enable */
	hfdcan1.Init.StdFiltersNbr = 4;
	if (HAL_FDCAN_Init(&hfdcan1) != HAL_OK) {
		Error_Handler();
	}

	FDCAN_FilterTypeDef sFilterConfig;
	sFilterConfig.IdType = FDCAN_STANDARD_ID;
	sFilterConfig.FilterType = FDCAN_FILTER_MASK;
	sFilterConfig.FilterConfig = FDCAN_FILTER_TO_RXFIFO0;
	sFilterConfig.FilterID2 = 0x7FF; /* full mask -> exact ID match */

	/* Accept /brake_command (0x130) */
	sFilterConfig.FilterIndex = 0;
	sFilterConfig.FilterID1 = CAN_ID_BRAKE_CMD;
	if (HAL_FDCAN_ConfigFilter(&hfdcan1, &sFilterConfig) != HAL_OK) {
		Error_Handler();
	}

	/* Accept /servo_command (0x132) */
	sFilterConfig.FilterIndex = 1;
	sFilterConfig.FilterID1 = CAN_ID_SERVO_CMD;
	if (HAL_FDCAN_ConfigFilter(&hfdcan1, &sFilterConfig) != HAL_OK) {
		Error_Handler();
	}

	/* Accept /cmd_vel (0x120): target wheel speed for the PID loop */
	sFilterConfig.FilterIndex = 2;
	sFilterConfig.FilterID1 = CAN_ID_CMD_VEL;
	if (HAL_FDCAN_ConfigFilter(&hfdcan1, &sFilterConfig) != HAL_OK) {
		Error_Handler();
	}

	/* Accept /speed_enable (0x121): turn the PID speed loop on/off */
	sFilterConfig.FilterIndex = 3;
	sFilterConfig.FilterID1 = CAN_ID_SPEED_ENABLE;
	if (HAL_FDCAN_ConfigFilter(&hfdcan1, &sFilterConfig) != HAL_OK) {
		Error_Handler();
	}
	if (HAL_FDCAN_ConfigGlobalFilter(&hfdcan1, FDCAN_REJECT, FDCAN_REJECT,
			FDCAN_REJECT_REMOTE, FDCAN_REJECT_REMOTE) != HAL_OK) {
		Error_Handler();
	}

	/* TX header for /brake_status (0x131, classic CAN, 8 bytes). */
	CanTxHeader.Identifier = CAN_ID_BRAKE_STATUS;
	CanTxHeader.IdType = FDCAN_STANDARD_ID;
	CanTxHeader.TxFrameType = FDCAN_DATA_FRAME;
	CanTxHeader.DataLength = FDCAN_DLC_BYTES_8;
	CanTxHeader.ErrorStateIndicator = FDCAN_ESI_ACTIVE;
	CanTxHeader.BitRateSwitch = FDCAN_BRS_OFF;
	CanTxHeader.FDFormat = FDCAN_CLASSIC_CAN;
	CanTxHeader.TxEventFifoControl = FDCAN_NO_TX_EVENTS;
	CanTxHeader.MessageMarker = 0;

	/* Servo-status frame (0x133): 8-byte, two float32 (start_deg, stop_deg). */
	CanServoTxHeader = CanTxHeader;
	CanServoTxHeader.Identifier = CAN_ID_SERVO_STATUS;
	CanServoTxHeader.DataLength = FDCAN_DLC_BYTES_8;

	/* Brake-angle frame (0x134): 1-byte, current servo angle in whole degrees. */
	CanBrakeAngleTxHeader = CanTxHeader;
	CanBrakeAngleTxHeader.Identifier = CAN_ID_BRAKE_ANGLE;
	CanBrakeAngleTxHeader.DataLength = FDCAN_DLC_BYTES_1;

	/* Speed-status frame (0x122): 8-byte (measured/target int16 + flags + seq). */
	CanSpeedTxHeader = CanTxHeader;
	CanSpeedTxHeader.Identifier = CAN_ID_SPEED_STATUS;
	CanSpeedTxHeader.DataLength = FDCAN_DLC_BYTES_8;

	/* Speed-diagnostics frame (0x123): 8-byte raw Curtis I/O snapshot. */
	CanSpeedDiagTxHeader = CanTxHeader;
	CanSpeedDiagTxHeader.Identifier = CAN_ID_SPEED_DIAG;
	CanSpeedDiagTxHeader.DataLength = FDCAN_DLC_BYTES_8;

	if (HAL_FDCAN_Start(&hfdcan1) != HAL_OK) {
		Error_Handler();
	}
	if (HAL_FDCAN_ActivateNotification(&hfdcan1,
			FDCAN_IT_RX_FIFO0_NEW_MESSAGE, 0) != HAL_OK) {
		Error_Handler();
	}
}

/**
  * @brief Pack the brake status into an 8-byte frame and queue it for TX.
  *        Also runs the "Relay ON but no current" open-load validation.
  */
static void BrakeStatus_Send(void)
{
	uint8_t relay_active =
			(HAL_GPIO_ReadPin(RELAY_Brake_GPIO_Port, RELAY_Brake_Pin) == GPIO_PIN_SET) ? 1u : 0u;

	/* Current Validation: Relay is ON but almost no current is flowing ->
	 * broken motor wire or failed motor. Latch the fault so the PC sees it.
	 * Disabled while bench-testing without a load (see ENABLE_OPENLOAD_CHECK). */
#if ENABLE_OPENLOAD_CHECK
	if (relay_active && (current_ma < CURRENT_FAULT_THRESHOLD_MA)) {
		watchdog_status = 1;
	}
#endif

	uint8_t TxData[8];
	memcpy(&TxData[0], &current_ma, sizeof(float)); /* [0..3] float32, little-endian */
	TxData[4] = relay_active;                        /* [4]    relay_active */
	/* [5] status bits: bit0 = watchdog_status (E-Stop/fault latch, as before),
	 *                  bit1 = PC13 E_Stop live status. */
	TxData[5] = (uint8_t) ((watchdog_status & 0x01u) | ((estop_pc13 & 0x01u) << 1));
	TxData[6] = (uint8_t) (heartbeat_seq & 0xFFu);   /* [6..7] sequence counter */
	TxData[7] = (uint8_t) (heartbeat_seq >> 8);
	heartbeat_seq++;

	HAL_FDCAN_AddMessageToTxFifoQ(&hfdcan1, &CanTxHeader, TxData);
}

/**
  * @brief Report the held start/stop angles (0x133): flash values at boot, then
  *        the live /servo_command values after each overwrite.
  */
static void ServoStatus_Send(void)
{
	float s = start_angle_deg;   /* volatile -> local snapshot */
	float t = stop_angle_deg;
	uint8_t TxData[8];
	memcpy(&TxData[0], &s, sizeof(float)); /* [0..3] float32 start_deg, little-endian */
	memcpy(&TxData[4], &t, sizeof(float)); /* [4..7] float32 stop_deg,  little-endian */

	HAL_FDCAN_AddMessageToTxFifoQ(&hfdcan1, &CanServoTxHeader, TxData);
}

/**
  * @brief Report the current servo/brake angle on /brake_angle (0x134): one byte,
  *        whole degrees (0..180), tracking whatever the sequencer is driving to.
  */
static void BrakeAngle_Send(void)
{
	uint8_t TxData[1];
	TxData[0] = brake_servo_deg;   /* [0] uint8 angle_deg (0..180) */
	HAL_FDCAN_AddMessageToTxFifoQ(&hfdcan1, &CanBrakeAngleTxHeader, TxData);
}

/**
  * @brief Report /speed_status (0x122, 8-byte): measured + target speed (signed
  *        int16, 0.01 m/s/LSB), a status_flags byte, a fault_code, and a rolling
  *        sequence counter. The pulse sensor is unsigned, so the sign of both
  *        speeds is taken from the commanded direction (curtis_speed_target_mps).
  */
static void SpeedStatus_Send(void)
{
	float mag = speed_sensor_mps;   /* measured magnitude, m/s (>= 0) */
	/* Re-apply the commanded sign so the PC sees a signed cmd_vel-style speed. */
	float signed_mps = (curtis_speed_target_mps < 0.0f) ? -mag : mag;
	int16_t measured_raw = mps_to_raw(signed_mps);
	int16_t target_raw   = mps_to_raw(curtis_speed_target_mps);

	/* status_flags: pull the live output-line state from the speed controller
	 * telemetry (only valid while the loop drives), plus sensor/timeout/fault. */
	uint8_t timeout_active =
			(cmd_vel_seen && (HAL_GetTick() - last_cmd_vel_tick) >= SPEED_CMD_TIMEOUT_MS)
					? 1u : 0u;
	uint8_t flags = 0u;
	if (speed_control_enable)        flags |= SPEED_FLAG_ENABLED;
	if (CurtisIO_Speed_forward)      flags |= SPEED_FLAG_FWD_CMD;
	if (CurtisIO_Speed_backward)     flags |= SPEED_FLAG_REV_CMD;
	if (CurtisIO_Speed_pedal)        flags |= SPEED_FLAG_PEDAL;
	if (speed_sensor_hz > 0.0f)      flags |= SPEED_FLAG_SENSOR_OK;
	if (timeout_active)              flags |= SPEED_FLAG_TIMEOUT;
	if (estop_pc13)                  flags |= SPEED_FLAG_ESTOP;
	if (speed_fault_code != 0u)      flags |= SPEED_FLAG_FAULT;

	uint8_t TxData[8];
	TxData[0] = (uint8_t) (measured_raw & 0xFFu);        /* [0..1] measured, LE */
	TxData[1] = (uint8_t) ((measured_raw >> 8) & 0xFFu);
	TxData[2] = (uint8_t) (target_raw & 0xFFu);          /* [2..3] target, LE   */
	TxData[3] = (uint8_t) ((target_raw >> 8) & 0xFFu);
	TxData[4] = flags;                                   /* [4]    status_flags */
	TxData[5] = speed_fault_code;                        /* [5]    fault_code   */
	TxData[6] = (uint8_t) (speed_seq & 0xFFu);           /* [6..7] sequence, LE */
	TxData[7] = (uint8_t) ((speed_seq >> 8) & 0xFFu);
	speed_seq++;

	HAL_FDCAN_AddMessageToTxFifoQ(&hfdcan1, &CanSpeedTxHeader, TxData);
}

/**
  * @brief Report /speed_diagnostics (0x123, 8-byte): raw Curtis I/O snapshot —
  *        the digital input lines, the driven output lines + mode relay, the MCOR
  *        throttle voltages (in from the wiper, out from the DAC) and the speed
  *        sensor pulse frequency. For bench/telemetry debugging.
  */
static void SpeedDiag_Send(void)
{
	uint8_t input_flags = 0u;
	if (curtis_forward)  input_flags |= 0x01u;   /* bit0 FWD input   */
	if (curtis_backward) input_flags |= 0x02u;   /* bit1 REV input   */
	if (curtis_pedal)    input_flags |= 0x04u;   /* bit2 Pedal input */

	uint8_t output_flags = 0u;
	if (CurtisIO_GetOutForward())  output_flags |= 0x01u;  /* bit0 FWD output */
	if (CurtisIO_GetOutBackward()) output_flags |= 0x02u;  /* bit1 REV output */
	if (CurtisIO_GetOutPedal())    output_flags |= 0x04u;  /* bit2 Pedal out  */
	if (CurtisIO_ModeRelayActive())output_flags |= 0x08u;  /* bit3 mode relay */

	/* Clamp both MCOR voltages to the uint16 mV range before packing. */
	float in_mv  = mcor_volts * 1000.0f;
	float out_mv = CurtisIO_McorOutVolts() * 1000.0f;
	if (in_mv  < 0.0f) in_mv  = 0.0f;  if (in_mv  > 65535.0f) in_mv  = 65535.0f;
	if (out_mv < 0.0f) out_mv = 0.0f;  if (out_mv > 65535.0f) out_mv = 65535.0f;
	uint16_t mcor_in_mv  = (uint16_t) (in_mv  + 0.5f);
	uint16_t mcor_out_mv = (uint16_t) (out_mv + 0.5f);

	float hz = speed_sensor_hz;
	if (hz < 0.0f) hz = 0.0f;  if (hz > 65535.0f) hz = 65535.0f;
	uint16_t sensor_hz = (uint16_t) (hz + 0.5f);

	uint8_t TxData[8];
	TxData[0] = input_flags;                             /* [0] input_flags   */
	TxData[1] = output_flags;                            /* [1] output_flags  */
	TxData[2] = (uint8_t) (mcor_in_mv & 0xFFu);          /* [2..3] MCOR in mV  */
	TxData[3] = (uint8_t) ((mcor_in_mv >> 8) & 0xFFu);
	TxData[4] = (uint8_t) (mcor_out_mv & 0xFFu);         /* [4..5] MCOR out mV */
	TxData[5] = (uint8_t) ((mcor_out_mv >> 8) & 0xFFu);
	TxData[6] = (uint8_t) (sensor_hz & 0xFFu);           /* [6..7] sensor Hz   */
	TxData[7] = (uint8_t) ((sensor_hz >> 8) & 0xFFu);

	HAL_FDCAN_AddMessageToTxFifoQ(&hfdcan1, &CanSpeedDiagTxHeader, TxData);
}

/**
  * @brief FDCAN RX FIFO0 callback: decode /brake_command, /cmd_vel,
  *        /speed_enable and /servo_command frames.
  */
void HAL_FDCAN_RxFifo0Callback(FDCAN_HandleTypeDef *hfdcan, uint32_t RxFifo0ITs)
{
	if ((RxFifo0ITs & FDCAN_IT_RX_FIFO0_NEW_MESSAGE) == 0u) {
		return;
	}

	/* Drain every frame queued in FIFO0, not just one: a flash-erase stall can
	 * let several pile up, and reading only one would leave the rest unprocessed. */
	FDCAN_RxHeaderTypeDef RxHeader;
	uint8_t RxData[8];
	while (HAL_FDCAN_GetRxMessage(hfdcan, FDCAN_RX_FIFO0, &RxHeader, RxData) == HAL_OK) {
		if (RxHeader.Identifier == CAN_ID_BRAKE_CMD) {
			/* std_msgs/Bool: data:true -> Relay ON (engage), data:false -> Relay OFF. */
			relay_cmd = (RxData[0] != 0u) ? 1u : 0u;
		} else if (RxHeader.Identifier == CAN_ID_CMD_VEL) {
			/* 2-byte signed int16, 0.01 m/s/LSB: PID target wheel speed (signed). */
			int16_t raw = (int16_t) ((uint16_t) RxData[0]
			                       | ((uint16_t) RxData[1] << 8));
			curtis_speed_target_mps = raw_to_mps(raw);
			/* Stamp the arrival for the /speed_status timeout flag (0x122 bit5). */
			last_cmd_vel_tick = HAL_GetTick();
			cmd_vel_seen      = 1u;
		} else if (RxHeader.Identifier == CAN_ID_SPEED_ENABLE) {
			/* std_msgs/Bool: 1 -> run the PID speed loop, 0 -> release outputs. */
			speed_control_enable = (RxData[0] != 0u) ? 1u : 0u;
		} else if (RxHeader.Identifier == CAN_ID_SERVO_CMD) {
			/* 8-byte: [0..3] start_deg, [4..7] stop_deg. Takes effect immediately;
			 * the flash persist is debounced in the main loop (FLASH_WRITE_QUIET_MS). */
			float new_start, new_stop;
			memcpy(&new_start, &RxData[0], sizeof(float));
			memcpy(&new_stop,  &RxData[4], sizeof(float));
			/* Clamp both to the valid servo range 0..180°. */
			if (new_start < 0.0f) new_start = 0.0f;
			if (new_start > 180.0f) new_start = 180.0f;
			if (new_stop  < 0.0f) new_stop  = 0.0f;
			if (new_stop  > 180.0f) new_stop  = 180.0f;
			if (new_start != start_angle_deg || new_stop != stop_angle_deg) {
				start_angle_deg = new_start;
				stop_angle_deg  = new_stop;
				flash_save_req  = 1;
				flash_req_tick  = HAL_GetTick();  /* restart the debounce window */
			}
		}
	}
}

/**
  * @brief TIM input-capture callback: speed sensor edges on TIM2 CH1 (PA15).
  *        Hands each captured counter value to the curtis_io speed tracker.
  */
void HAL_TIM_IC_CaptureCallback(TIM_HandleTypeDef *htim)
{
	if (htim->Instance == TIM2 && htim->Channel == HAL_TIM_ACTIVE_CHANNEL_1) {
		CurtisIO_SpeedOnCapture(HAL_TIM_ReadCapturedValue(htim, TIM_CHANNEL_1));
	}
}

void HAL_TIM_PeriodElapsedCallback(TIM_HandleTypeDef *htim) {
	if (htim->Instance == TIM6) // ทุกๆ 10ms
	{
		// 1. ทริกเกอร์ Watchdog
		HAL_GPIO_TogglePin(WDI_GPIO_Port, WDI_Pin);

		// 2a. LED2 rapid-blink (~10 Hz) as a flash-write ACK, for ~1 s after a
		//     verified write. Overrides LED2's normal heartbeat while active.
		if (led2_blink_ticks > 0) {
			led2_blink_ticks--;
			static uint8_t b = 0;
			if (++b >= LED2_BLINK_PERIOD) {
				b = 0;
				HAL_GPIO_TogglePin(GPIOB, LED2_Pin);
			}
			if (led2_blink_ticks == 0) {
				HAL_GPIO_WritePin(GPIOB, LED2_Pin, GPIO_PIN_RESET); // leave LED2 in a known state
			}
		}

		// 2b. นับเวลาให้ครบ 1 วินาที (10ms * 100 = 1000ms) สำหรับ LED heartbeat
		led_counter++;
		if (led_counter >= 100) {
			HAL_GPIO_TogglePin(GPIOB, LED_1_Pin);
			if (led2_blink_ticks == 0) {
				HAL_GPIO_TogglePin(GPIOB, LED2_Pin); // normal LED2 heartbeat when not ACK-blinking
			}
			led_counter = 0;
		}

		// 3. ตั้ง Flag ส่งสถานะทุกๆ HEARTBEAT_TICKS (10ms). main loop สลับกลุ่ม
		//    brake/speed แต่ละครั้ง -> แต่ละกลุ่มถูกส่งทุก 20ms
		static uint16_t hb_counter = 0;
		if (++hb_counter >= HEARTBEAT_TICKS) {
			hb_counter = 0;
			can_tx_flag = 1;
		}

		// 4. ปุ่ม Toggle relay ที่ขา PC1 (active-high). สุ่มอ่านทุก 10ms = debounce
		//    สลับสถานะเฉพาะตอน "กดลง" (ขอบ released->pressed) เท่านั้น
		static GPIO_PinState btn_prev = GPIO_PIN_RESET; // released = low (pull-down)
		GPIO_PinState btn_now = HAL_GPIO_ReadPin(BTN_TOGGLE_GPIO_Port, BTN_TOGGLE_Pin);
		if (btn_prev == GPIO_PIN_RESET && btn_now == GPIO_PIN_SET) {
			relay_cmd = (relay_cmd == 1) ? 0u : 1u; // toggle
		}
		btn_prev = btn_now;
	}
}

void HAL_GPIO_EXTI_Callback(uint16_t GPIO_Pin)
{
  if (GPIO_Pin == GPIO_PIN_2) // ตรวจสอบว่าเป็น Interrupt จากขา PD2
  {
    // 0. กรอง glitch: noise ตอนคอยล์ relay สวิตช์ทำให้ PD2 เกิด falling edge ปลอม.
    //    E-Stop จริงจะกดค้างให้สาย LOW ต่อเนื่อง ส่วน glitch จะเด้งกลับ HIGH ทันที.
    //    spin สั้นๆ แล้วอ่านซ้ำ ถ้ากลับเป็น HIGH = glitch -> ไม่ latch.
    for (volatile uint32_t i = 0; i < 4000u; i++) { __NOP(); }
    if (HAL_GPIO_ReadPin(ESTOP_GPIO_Port, ESTOP_Pin) != GPIO_PIN_RESET) {
      __HAL_GPIO_EXTI_CLEAR_IT(ESTOP_Pin);  // ทิ้ง edge ปลอม
      return;
    }

    // 1. สั่งปิด Relay ทันทีที่ระดับฮาร์ดแวร์
    HAL_GPIO_WritePin(RELAY_Brake_GPIO_Port, RELAY_Brake_Pin, GPIO_PIN_RESET);

    // 2. บังคับเคลียร์ตัวแปรคำสั่งใน Live Expression
    // เพื่อป้องกันไม่ให้โค้ดใน while(1) กลับมาสั่งเปิด Relay อีก
    relay_cmd = 0;

    // 3. ตั้งสถานะ watchdog ให้เป็น Triggered เพื่อให้ PC รู้ว่าเกิด E-Stop
    watchdog_status = 1;
  }
}
/* USER CODE END 4 */

void Error_Handler(void)
{
	__disable_irq();
	while (1) {
	}
}
